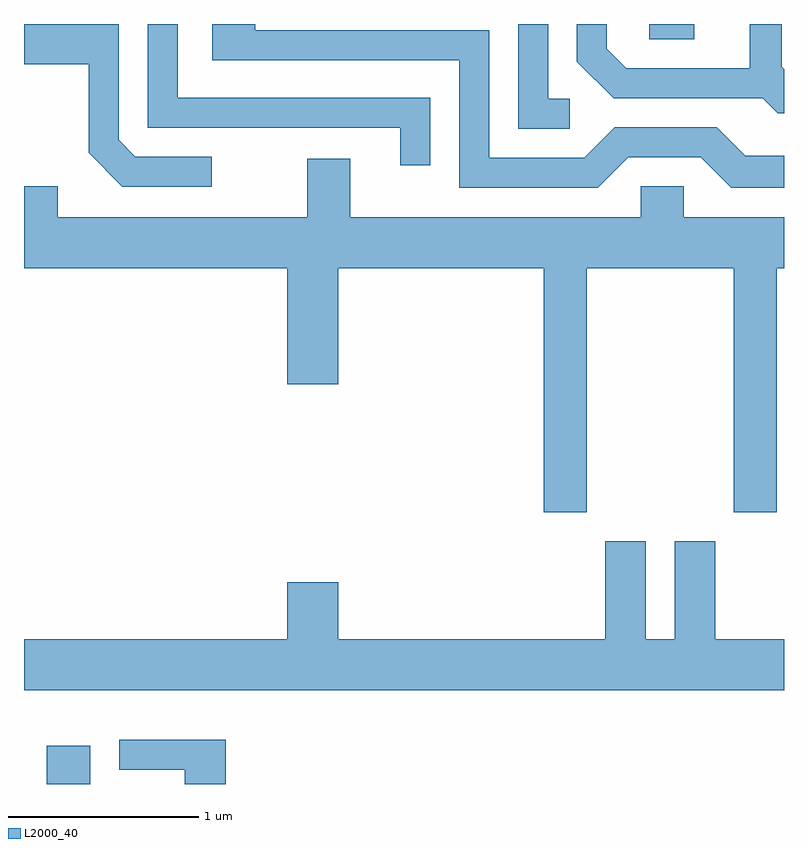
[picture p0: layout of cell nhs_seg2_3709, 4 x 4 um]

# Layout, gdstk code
import gdstk
lib = gdstk.Library(unit=1e-6, precision=1e-09)
def R(c, l, rs):  # rectangles x0, y0, x1, y1
    for r in rs: c.add(gdstk.rectangle(r[:2], r[2:], *l))
def P(c, l, *ps):  # polygons
    for p in ps: c.add(gdstk.Polygon(p, *l))
L2000_40 = (2000, 40)

nhs_seg2_3709 = lib.new_cell('nhs_seg2_3709')
R(nhs_seg2_3709, L2000_40, [(293.731,1067.802,293.959,1068.004), (296.901,1071.721,297.139,1071.802)])
P(nhs_seg2_3709, L2000_40, [(297.611,1071.565),(297.599,1071.577),(297.599,1071.802),(297.431,1071.802),(297.431,1071.569),(296.782,1071.569),(296.679,1071.672),(296.679,1071.802),(296.521,1071.802),(296.521,1071.604),(296.714,1071.411),(297.499,1071.411),(297.579,1071.331),(297.611,1071.331)],
  [(294.598,1071.104),(294.197,1071.104),(294.109,1071.192),(294.109,1071.802),(293.611,1071.802),(293.611,1071.591),(293.951,1071.591),(293.951,1071.124),(294.129,1070.946),(294.598,1070.946)],
  [(295.749,1071.414),(294.419,1071.414),(294.419,1071.802),(294.261,1071.802),(294.261,1071.256),(295.591,1071.256),(295.591,1071.058),(295.749,1071.058)],
  [(296.483,1071.409),(296.369,1071.409),(296.369,1071.802),(296.211,1071.802),(296.211,1071.251),(296.483,1071.251)],
  [(296.792,1071.101),(297.174,1071.101),(297.334,1070.941),(297.611,1070.941),(297.611,1071.109),(297.407,1071.109),(297.257,1071.259),(296.719,1071.259),(296.559,1071.099),(296.059,1071.099),(296.059,1071.769),(294.829,1071.769),(294.829,1071.802),(294.601,1071.802),(294.601,1071.611),(295.901,1071.611),(295.901,1070.941),(296.632,1070.941)],
  [(295.101,1070.784),(293.789,1070.784),(293.789,1070.949),(293.611,1070.949),(293.611,1070.516),(294.996,1070.516),(294.996,1069.906),(295.264,1069.906),(295.264,1070.516),(296.346,1070.516),(296.346,1069.231),(296.574,1069.231),(296.574,1070.516),(297.346,1070.516),(297.346,1069.231),(297.574,1069.231),(297.574,1070.516),(297.611,1070.516),(297.611,1070.784),(297.084,1070.784),(297.084,1070.949),(296.856,1070.949),(296.856,1070.784),(295.329,1070.784),(295.329,1071.094),(295.101,1071.094)],
  [(296.671,1069.079),(296.671,1068.564),(295.264,1068.564),(295.264,1068.864),(294.996,1068.864),(294.996,1068.564),(293.611,1068.564),(293.611,1068.296),(297.611,1068.296),(297.611,1068.564),(297.249,1068.564),(297.249,1069.079),(297.036,1069.079),(297.036,1068.564),(296.884,1068.564),(296.884,1069.079)],
  [(294.674,1068.034),(294.113,1068.034),(294.113,1067.876),(294.456,1067.876),(294.456,1067.802),(294.674,1067.802)])

lib.write_gds('nhs_seg2_3709.gds')
